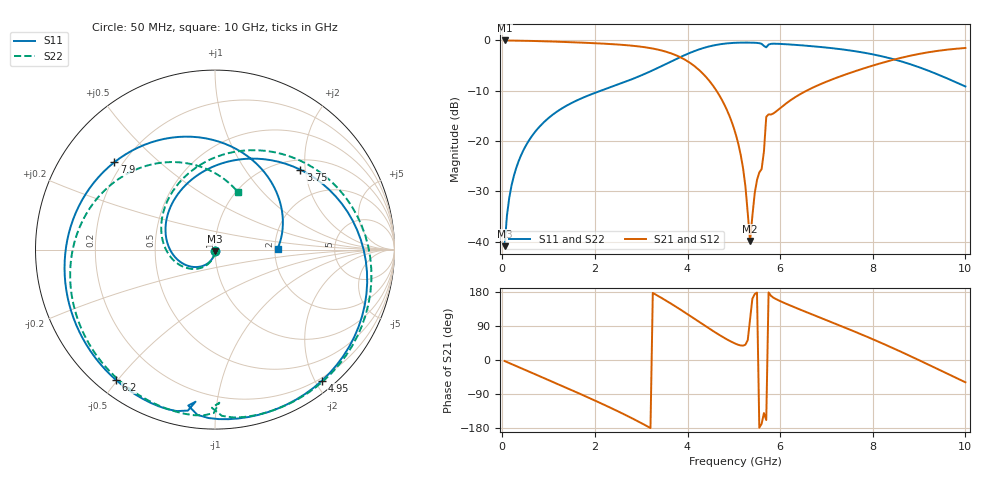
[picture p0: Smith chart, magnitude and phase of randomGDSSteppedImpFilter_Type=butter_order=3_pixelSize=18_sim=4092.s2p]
! freq	dB(S11)	phase(S11)	dB(S12)	phase(S12)
!  dB(S21)	phase(S21)	dB(S22)	phase(S22)
!S-par simulation data
#  GHz  S  DB  R 50
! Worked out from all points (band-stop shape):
!   200 points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, 50 MHz to 10 GHz, reference 50 ohm
!   highest |S21| = 0.00 dB at 50 MHz (marker M1); lowest = -39.9 dB at 5.35 GHz (marker M2)
!   |S21| within 3 dB of the highest: start of sweep to 3.765 GHz; 8.826 GHz to end of sweep
!   lowest |S11| = -40.9 dB at 50 MHz (marker M3), VSWR 1.02, Z = 50 - j0.904 ohm
!   |S11| at or under -10 dB: start of sweep to 2.123 GHz
!   |S22| runs from -40.8 to -0.4 dB; largest |S21 - S12| = 0
!   S11 on the Smith chart (normalised r, x): 50 MHz: 1.00, -0.02; 3.75 GHz: 1.22, +1.88; 4.95 GHz: 0.16, -2.09; 6.2 GHz: 0.06, -0.50; 7.9 GHz: 0.17, +0.36; 10 GHz: 2.07, +0.03
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0.05  -40.86 -92.4  -0.00 -2.7  -0.00 -2.7  -40.76 -92.0
0.2  -28.79 -101.5  -0.02 -10.7  -0.02 -10.7  -28.82 -100.0
0.5  -21.04 -118.5  -0.07 -26.6  -0.07 -26.6  -21.03 -115.6
1.15  -14.33 -155.3  -0.24 -61.0  -0.24 -61.0  -14.34 -148.4
1.75  -11.34 170.6  -0.45 -93.2  -0.45 -93.2  -11.35 -179.0
2.7  -8.06 114.3  -0.96 -147.5  -0.96 -147.5  -8.08 128.4
3.4  -5.27 68.5  -1.91 166.5  -1.91 166.5  -5.30 81.9
3.75  -3.72 43.1  -2.94 140.6  -2.94 140.6  -3.74 55.1
4.4  -1.35 -8.3  -7.27 88.5  -7.27 88.5  -1.37 1.1
4.95  -0.51 -50.8  -16.07 47.9  -16.07 47.9  -0.51 -42.6
5.05  -0.46 -58.0  -18.92 42.3  -18.92 42.3  -0.46 -49.9
5.2  -0.43 -68.5  -25.45 37.9  -25.45 37.9  -0.42 -60.4
5.35  -0.43 -78.6  -39.85 106.8  -39.85 106.8  -0.42 -70.5
5.45  -0.47 -85.4  -30.39 173.8  -30.39 173.8  -0.45 -77.0
5.65  -1.10 -99.7  -22.03 -140.0  -22.03 -140.0  -1.09 -91.1
5.7  -1.37 -97.3  -15.16 -158.5  -15.16 -158.5  -1.38 -88.4
6.2  -0.80 -127.2  -12.04 144.8  -12.04 144.8  -0.76 -116.4
6.7  -1.15 -154.2  -9.39 119.8  -9.39 119.8  -1.10 -140.2
7.9  -2.58 139.1  -5.28 60.1  -5.28 60.1  -2.48 166.6
8.35  -3.49 111.2  -4.07 36.1  -4.07 36.1  -3.39 146.4
9.2  -6.01 53.9  -2.35 -12.1  -2.35 -12.1  -5.97 107.4
10  -9.14 1.0  -1.50 -58.8  -1.50 -58.8  -9.25 68.3
